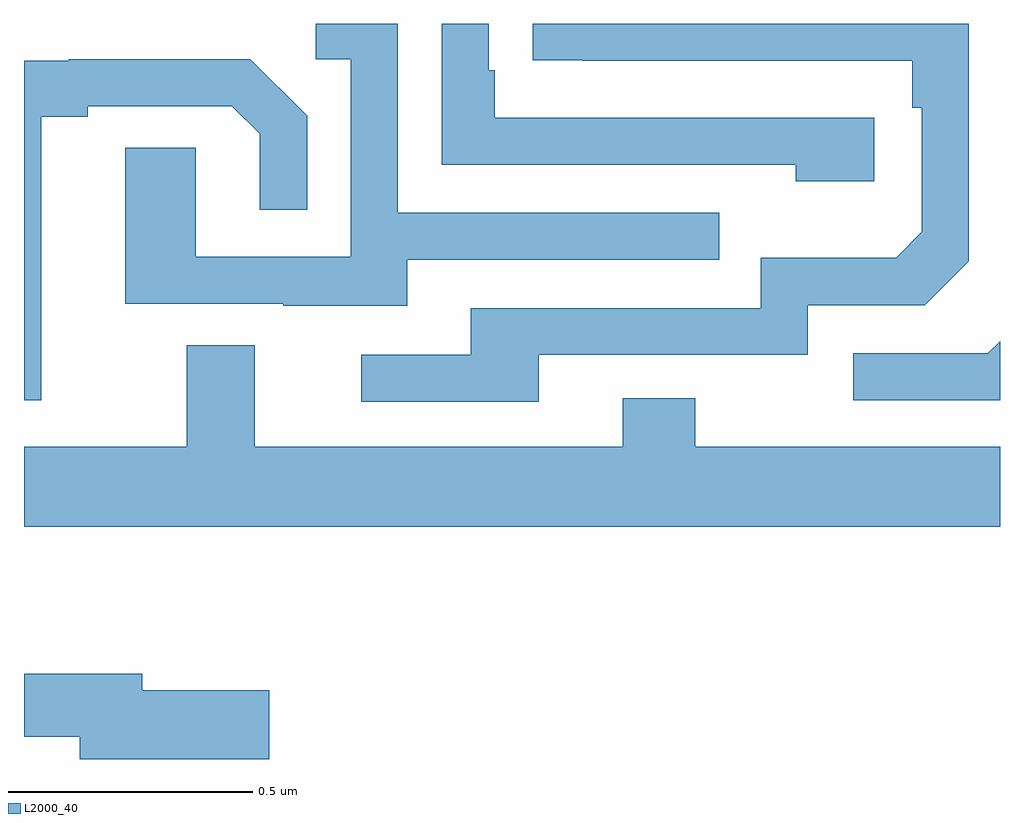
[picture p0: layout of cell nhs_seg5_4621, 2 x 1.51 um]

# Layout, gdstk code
import gdstk
lib = gdstk.Library(unit=1e-6, precision=1e-09)
def P(c, l, *ps):  # polygons
    for p in ps: c.add(gdstk.Polygon(p, *l))
L2000_40 = (2000, 40)

nhs_seg5_4621 = lib.new_cell('nhs_seg5_4621')
P(nhs_seg5_4621, L2000_40, [(173.785,849.315),(174.425,849.315),(174.425,849.411),(173.766,849.411),(173.766,849.799),(173.598,849.799),(173.598,849.726),(173.67,849.726),(173.67,849.321),(173.352,849.321),(173.352,849.545),(173.207,849.545),(173.207,849.225),(173.531,849.225),(173.531,849.221),(173.785,849.221)],
  [(174.742,849.606),(173.965,849.606),(173.965,849.703),(173.952,849.703),(173.952,849.799),(173.856,849.799),(173.856,849.51),(174.581,849.51),(174.581,849.476),(174.742,849.476)],
  [(174.055,849.12),(174.606,849.12),(174.606,849.222),(174.846,849.222),(174.936,849.312),(174.936,849.799),(174.043,849.799),(174.043,849.724),(174.145,849.724),(174.145,849.723),(174.82,849.723),(174.82,849.626),(174.84,849.626),(174.84,849.372),(174.787,849.319),(174.51,849.319),(174.51,849.216),(173.915,849.216),(173.915,849.12),(173.691,849.12),(173.691,849.024),(174.055,849.024)],
  [(173.035,849.608),(173.131,849.608),(173.131,849.63),(173.426,849.63),(173.483,849.573),(173.483,849.417),(173.58,849.417),(173.58,849.61),(173.464,849.726),(173.092,849.726),(173.092,849.723),(173,849.723),(173,849.027),(173.035,849.027)],
  [(175,849.148),(174.975,849.123),(174.699,849.123),(174.699,849.027),(175,849.027)],
  [(175,848.932),(174.375,848.932),(174.375,849.031),(174.227,849.031),(174.227,848.932),(173.473,848.932),(173.473,849.14),(173.333,849.14),(173.333,848.932),(173,848.932),(173,848.768),(175,848.768)],
  [(173.503,848.433),(173.242,848.433),(173.242,848.467),(173,848.467),(173,848.338),(173.114,848.338),(173.114,848.291),(173.503,848.291)])

lib.write_gds('nhs_seg5_4621.gds')
